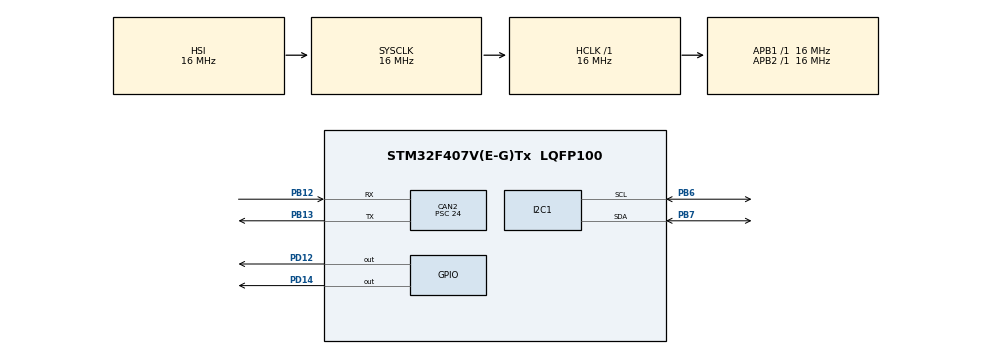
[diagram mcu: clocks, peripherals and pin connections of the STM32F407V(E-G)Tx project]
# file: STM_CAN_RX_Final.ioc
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CAN2.BS1=CAN_BS1_13TQ
CAN2.BS2=CAN_BS2_2TQ
CAN2.CalculateBaudRate=41666
CAN2.CalculateTimeBit=24000
CAN2.CalculateTimeQuantum=1500.0
CAN2.Prescaler=24
Mcu.Family=STM32F4
Mcu.Name=STM32F407V(E-G)Tx
Mcu.Package=LQFP100
NVIC.PriorityGroup=NVIC_PRIORITYGROUP_4
PA13.Mode=Serial_Wire
PA13.Signal=SYS_JTMS-SWDIO
PA14.Mode=Serial_Wire
PA14.Signal=SYS_JTCK-SWCLK
PB12.Mode=CAN_Activate
PB12.Signal=CAN2_RX
PB13.Mode=CAN_Activate
PB13.Signal=CAN2_TX
PB6.Mode=I2C
PB6.Signal=I2C1_SCL
PB7.Mode=I2C
PB7.Signal=I2C1_SDA
PD12.Signal=GPIO_Output
PD14.Signal=GPIO_Output
ProjectManager.HeapSize=0x200
ProjectManager.StackSize=0x400
ProjectManager.TargetToolchain=STM32CubeIDE
RCC.AHBFreq_Value=16000000
RCC.APB1Freq_Value=16000000
RCC.APB2Freq_Value=16000000
RCC.CortexFreq_Value=16000000
RCC.HSE_VALUE=25000000
RCC.HSI_VALUE=16000000
RCC.LSE_VALUE=32768
RCC.SYSCLKFreq_VALUE=16000000
RCC.VCOOutputFreq_Value=192000000
board=custom

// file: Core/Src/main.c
/* USER CODE BEGIN Header */
/**
-----------------------------------------------------------------------------
CODE: receiving distance with CAN (front, rear) and displaying on LCD and controlling Buzzer
Date: 05-08-2024
--------------------------------------------------------------------------
  ******************************************************************************
  * @file           : main.c
  * @brief          : Main program body
  ******************************************************************************
  * @attention
  *
  * Copyright (c) 2024 STMicroelectronics.
  * All rights reserved.
  *
  * This software is licensed under terms that can be found in the LICENSE file
  * in the root directory of this software component.
  * If no LICENSE file comes with this software, it is provided AS-IS.
  *
  ******************************************************************************

  */

/* USER CODE END Header */
#include "main.h"

/* USER CODE BEGIN Includes */
#include <stdio.h>
#include <string.h>
#include<math.h>
#include<stdlib.h>
#include<lcd_i2c.h>
/* USER CODE END Includes */

CAN_HandleTypeDef hcan2;
I2C_HandleTypeDef hi2c1;

/* USER CODE BEGIN PV */

uint8_t distance_message[8];

float rcvd_distance_front;
float rcvd_distance_rear;
uint32_t min_distance;
extern I2C_HandleTypeDef hi2c1;
uint32_t period;

/* USER CODE END PV */

void SystemClock_Config(void);
static void MX_GPIO_Init(void);
static void MX_CAN2_Init(void);
static void MX_I2C1_Init(void);
void LCD_Init(void);
/* USER CODE BEGIN PFP */

/* Private function prototypes -----------------------------------------------*/

void SystemClock_Config(void);
static void MX_GPIO_Init(void);
static void MX_CAN2_Init(void);
void CAN_Filter_Config(void);
void CAN2_Rx(void);
void setBuzzerFrequency(int distance);
void Error_Handler(void);
void displayDistances(int frontDistance, int rearDistance) ;
/* USER CODE END PFP */

int main(void)
{

  /* MCU Configuration--------------------------------------------------------*/

  /* Reset of all peripherals, Initializes the Flash interface and the Systick. */
  HAL_Init();

  /* Configure the system clock */
  SystemClock_Config();

  /* Initialize all configured peripherals */
  MX_GPIO_Init();
  MX_CAN2_Init();
  MX_I2C1_Init();
  LCD_Init();
  /* USER CODE BEGIN 2 */
  CAN_Filter_Config();
  if(HAL_CAN_Start(&hcan2) != HAL_OK)
  {
    Error_Handler();
  }
 // HAL_TIM_PWM_Start(&htim4,TIM_CHANNEL_1);
 // HAL_TIM_Base_Start(&htim2);  // Start the timer
  /* USER CODE END 2 */

  /* Infinite loop */
  /* USER CODE BEGIN WHILE */

  while (1)
  {
	  CAN2_Rx();                 // Receive and process CAN messages
	  min_distance = fmin(rcvd_distance_front,rcvd_distance_rear);
	  /* send min_distance to buzzer */
	  setBuzzerFrequency(min_distance);
	  displayDistances(rcvd_distance_front,rcvd_distance_rear);
	  HAL_Delay(80);            // Wait for 80 ms
  }

    /* USER CODE END WHILE */

}

void SystemClock_Config(void)
{
  RCC_OscInitTypeDef RCC_OscInitStruct = {0};
  RCC_ClkInitTypeDef RCC_ClkInitStruct = {0};

  /** Configure the main internal regulator output voltage
  */
  __HAL_RCC_PWR_CLK_ENABLE();
  __HAL_PWR_VOLTAGESCALING_CONFIG(PWR_REGULATOR_VOLTAGE_SCALE1);

  /** Initializes the RCC Oscillators according to the specified parameters
  * in the RCC_OscInitTypeDef structure.
  */
  RCC_OscInitStruct.OscillatorType = RCC_OSCILLATORTYPE_HSI;
  RCC_OscInitStruct.HSIState = RCC_HSI_ON;
  RCC_OscInitStruct.HSICalibrationValue = RCC_HSICALIBRATION_DEFAULT;
  RCC_OscInitStruct.PLL.PLLState = RCC_PLL_NONE;
  if (HAL_RCC_OscConfig(&RCC_OscInitStruct) != HAL_OK)
  {
    Error_Handler();
  }
  /** Initializes the CPU, AHB and APB buses clocks
  */
  RCC_ClkInitStruct.ClockType = RCC_CLOCKTYPE_HCLK|RCC_CLOCKTYPE_SYSCLK
                              |RCC_CLOCKTYPE_PCLK1|RCC_CLOCKTYPE_PCLK2;
  RCC_ClkInitStruct.SYSCLKSource = RCC_SYSCLKSOURCE_HSI;
  RCC_ClkInitStruct.AHBCLKDivider = RCC_SYSCLK_DIV1;
  RCC_ClkInitStruct.APB1CLKDivider = RCC_HCLK_DIV1;
  RCC_ClkInitStruct.APB2CLKDivider = RCC_HCLK_DIV1;

  if (HAL_RCC_ClockConfig(&RCC_ClkInitStruct, FLASH_LATENCY_0) != HAL_OK)
  {
    Error_Handler();
  }
}

static void MX_CAN2_Init(void)
{

  hcan2.Instance = CAN2;
  hcan2.Init.Prescaler = 24;
  hcan2.Init.Mode = CAN_MODE_NORMAL;
  hcan2.Init.SyncJumpWidth = CAN_SJW_1TQ;
  hcan2.Init.TimeSeg1 = CAN_BS1_13TQ;
  hcan2.Init.TimeSeg2 = CAN_BS2_2TQ;
  hcan2.Init.TimeTriggeredMode = DISABLE;
  hcan2.Init.AutoBusOff = DISABLE;
  hcan2.Init.AutoWakeUp = DISABLE;
  hcan2.Init.AutoRetransmission = DISABLE;
  hcan2.Init.ReceiveFifoLocked = DISABLE;
  hcan2.Init.TransmitFifoPriority = DISABLE;
  if (HAL_CAN_Init(&hcan2) != HAL_OK)
  {
    Error_Handler();
  }

}

static void MX_I2C1_Init(void)
{

  hi2c1.Instance = I2C1;
  hi2c1.Init.ClockSpeed = 100000;
  hi2c1.Init.DutyCycle = I2C_DUTYCYCLE_2;
  hi2c1.Init.OwnAddress1 = 0;
  hi2c1.Init.AddressingMode = I2C_ADDRESSINGMODE_7BIT;
  hi2c1.Init.DualAddressMode = I2C_DUALADDRESS_DISABLE;
  hi2c1.Init.OwnAddress2 = 0;
  hi2c1.Init.GeneralCallMode = I2C_GENERALCALL_DISABLE;
  hi2c1.Init.NoStretchMode = I2C_NOSTRETCH_DISABLE;
  if (HAL_I2C_Init(&hi2c1) != HAL_OK)
  {
    Error_Handler();
  }

}

static void MX_GPIO_Init(void)
{
  GPIO_InitTypeDef GPIO_InitStruct = {0};

  /* GPIO Ports Clock Enable */
  __HAL_RCC_GPIOB_CLK_ENABLE();
  __HAL_RCC_GPIOD_CLK_ENABLE();
  __HAL_RCC_GPIOA_CLK_ENABLE();

  /*Configure GPIO pin Output Level */
  HAL_GPIO_WritePin(GPIOD, GPIO_PIN_12, GPIO_PIN_RESET);

  /*Configure GPIO pin : PD12 */
  GPIO_InitStruct.Pin = GPIO_PIN_12;
  GPIO_InitStruct.Mode = GPIO_MODE_OUTPUT_PP;
  GPIO_InitStruct.Pull = GPIO_NOPULL;
  GPIO_InitStruct.Speed = GPIO_SPEED_FREQ_LOW;
  HAL_GPIO_Init(GPIOD, &GPIO_InitStruct);

}

/* USER CODE BEGIN 4 */
void LCD_Init(void)
{
	lcd_init();
}

/**

  * @brief This function configures the CAN filter

  * @retval None

  */

void CAN_Filter_Config(void)
{

  CAN_FilterTypeDef can2_filter_init;
  can2_filter_init.FilterActivation = ENABLE;
  can2_filter_init.FilterBank = 0;
  can2_filter_init.FilterFIFOAssignment = CAN_RX_FIFO0;
  can2_filter_init.FilterIdHigh = 0x65D << 5; // Standard ID shifted to 11 bits
  can2_filter_init.FilterIdLow = 0x0000;
  can2_filter_init.FilterMaskIdHigh = 0xFFFF;
  can2_filter_init.FilterMaskIdLow = 0x0000;
  can2_filter_init.FilterMode = CAN_FILTERMODE_IDMASK;
  can2_filter_init.FilterScale = CAN_FILTERSCALE_32BIT;
  if(HAL_CAN_ConfigFilter(&hcan2, &can2_filter_init) != HAL_OK)
  {
	  Error_Handler();
  }
}

/**

  * @brief This function receives a CAN message

  * @retval None

  */

void CAN2_Rx(void)
{
  CAN_RxHeaderTypeDef RxHeader;
  // Wait for at least one message in the RX FIFO0
  if (HAL_CAN_GetRxFifoFillLevel(&hcan2, CAN_RX_FIFO0) > 0)
  {
    if (HAL_CAN_GetRxMessage(&hcan2, CAN_RX_FIFO0, &RxHeader, distance_message) == HAL_OK)
    {
    	/* Extracting front and rear distance from received buffer of CAN */
    	memcpy(&rcvd_distance_front,&distance_message[0],sizeof(float));
    	memcpy(&rcvd_distance_rear,&distance_message[4],sizeof(float));
    }
    else
    {
      Error_Handler();
    }
  }
  HAL_Delay(100);

}

/* In this part of the code, the buzzer is controlled based on the min_distance value.
 * The delay duration (period) is calculated by multiplying the min_distance by 5.
 * This means that the closer the object, the shorter the delay, resulting in faster buzzing. */
void setBuzzerFrequency(int distance)
{

	if(distance<30)
	{
		HAL_GPIO_WritePin(GPIOD, GPIO_PIN_12, SET);
		period=(5 * distance);
		HAL_Delay(period);
		HAL_GPIO_WritePin(GPIOD, GPIO_PIN_12, RESET);
		HAL_Delay(period);
	}
	else
		HAL_GPIO_WritePin(GPIOD, GPIO_PIN_12, RESET);

}

/* For displaying front and rear distance on the LCD */
void displayDistances(int frontDistance, int rearDistance)
{
    char buffer[20];

    lcd_clear();
    lcd_put_cur(0, 0);
    sprintf(buffer, "Front Distance:");
    lcd_send_string(buffer);

    /* Display front distance received from CAN to LCD */
    lcd_put_cur(1, 0);
    sprintf(buffer, "%d cm", frontDistance);
    lcd_send_string(buffer);

    lcd_put_cur(2, 0);
    sprintf(buffer, "Rear Distance:");
    lcd_send_string(buffer);

    /* Display rear distance received from CAN to LCD */
    lcd_put_cur(3, 0);
    sprintf(buffer, "%d cm", rearDistance);
    lcd_send_string(buffer);
}

/* USER CODE END 4 */

void Error_Handler(void)
{
  __disable_irq();
  while (1)
  {
  }
}
